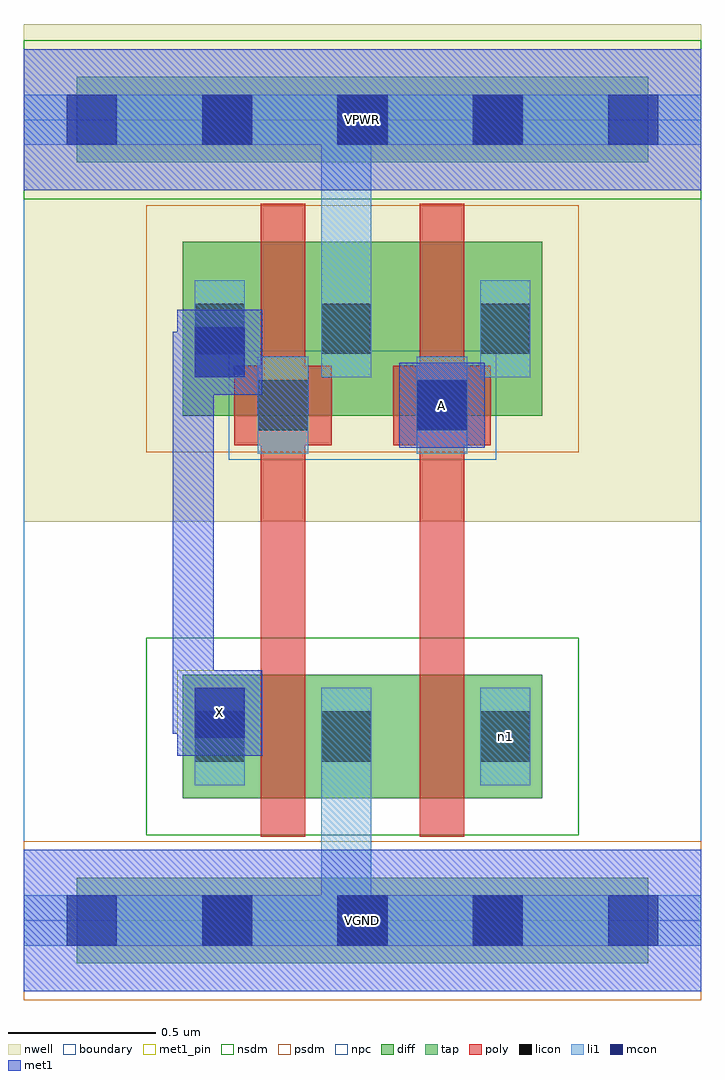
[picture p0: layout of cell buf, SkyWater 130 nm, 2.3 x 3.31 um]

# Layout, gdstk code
import gdstk
lib = gdstk.Library(unit=1e-6, precision=1e-09)
def R(c, l, rs):  # rectangles x0, y0, x1, y1
    for r in rs: c.add(gdstk.rectangle(r[:2], r[2:], *l))
def A(c, l, x, y, w, h, nx, ny, dx, dy):  # array of equal rectangles
    R(c, l, [(x+i*dx, y+j*dy, x+i*dx+w, y+j*dy+h) for i in range(nx) for j in range(ny)])
nwell = (64, 20)
diff = (65, 20)
tap = (65, 44)
poly = (66, 20)
licon = (66, 44)
li1 = (67, 20)
mcon = (67, 44)
met1_pin = (68, 16)
met1 = (68, 20)
nsdm = (93, 44)
psdm = (94, 20)
npc = (95, 20)
boundary = (235, 4)

buf = lib.new_cell('buf')
R(buf, nwell, [(0,1.355,2.3,3.045)])
R(buf, diff, [(0.54,0.415,1.76,0.835), (0.54,1.715,1.76,2.305)])
R(buf, tap, [(0.18,-0.145,2.12,0.145), (0.18,2.575,2.12,2.865)])
R(buf, poly, [(0.805,0.285,0.955,2.435), (1.345,0.285,1.495,2.435), (0.715,1.615,1.045,1.885), (1.255,1.615,1.585,1.885)])
A(buf, licon, 0.605, -0.085, 0.17, 0.17, 3, 2, 0.46, 2.72)
R(buf, licon, [(0.58,0.54,0.75,0.71), (1.01,0.54,1.18,0.71), (1.55,0.54,1.72,0.71), (0.795,1.665,0.965,1.835), (1.335,1.665,1.505,1.835), (0.58,1.925,0.75,2.095), (1.01,1.925,1.18,2.095), (1.55,1.925,1.72,2.095)])
R(buf, li1, [(0,-0.085,2.3,0.085), (1.01,-0.085,1.18,0.79), (0.58,0.46,0.75,0.79), (1.01,0.46,1.18,0.79), (1.55,0.46,1.72,0.79), (0.795,1.585,0.965,1.915), (1.335,1.585,1.505,1.915), (0.58,1.845,0.75,2.175), (1.01,1.845,1.18,2.175), (1.01,1.845,1.18,2.805), (1.55,1.845,1.72,2.175), (0,2.635,2.3,2.805)])
A(buf, mcon, 0.145, -0.085, 0.17, 0.17, 5, 2, 0.46, 2.72)
R(buf, mcon, [(0.58,0.62,0.75,0.79), (1.335,1.665,1.505,1.835), (0.58,1.845,0.75,2.015)])
R(buf, met1_pin, [(0,-0.24,2.3,0.24), (0.52,0.56,0.81,0.85), (1.275,1.605,1.565,1.895), (0,2.48,2.3,2.96)])
R(buf, met1, [(0,-0.24,2.3,0.24), (0.52,0.56,0.81,0.85), (0.505,0.635,0.735,0.775), (0.505,0.635,0.645,0.875), (0.505,0.735,0.645,1.91), (1.275,1.605,1.565,1.895), (0.505,1.77,0.645,2), (0.52,1.785,0.81,2.075), (0.505,1.86,0.735,2), (0,2.48,2.3,2.96)])
R(buf, nsdm, [(0.415,0.29,1.885,0.96), (0,2.45,2.3,2.99)])
R(buf, psdm, [(0,-0.27,2.3,0.27), (0.415,1.59,1.885,2.43)])
R(buf, npc, [(0.695,1.565,1.605,1.935)])
R(buf, boundary, [(0,0,2.3,2.72)])
buf.add(gdstk.Label('n1', (1.635,0.625), layer=67, texttype=5))
buf.add(gdstk.Label('A', (1.42,1.75), layer=68, texttype=5))
buf.add(gdstk.Label('X', (0.665,0.705), layer=68, texttype=5))
buf.add(gdstk.Label('VPWR', (1.15,2.72), layer=68, texttype=5))
buf.add(gdstk.Label('VGND', (1.15,0), layer=68, texttype=5))
buf.add(gdstk.Label('A', (1.42,1.75), layer=68, texttype=16))
buf.add(gdstk.Label('X', (0.665,0.705), layer=68, texttype=16))
buf.add(gdstk.Label('VPWR', (1.15,2.72), layer=68, texttype=16))
buf.add(gdstk.Label('VGND', (1.15,0), layer=68, texttype=16))

lib.write_gds('buf.gds')
